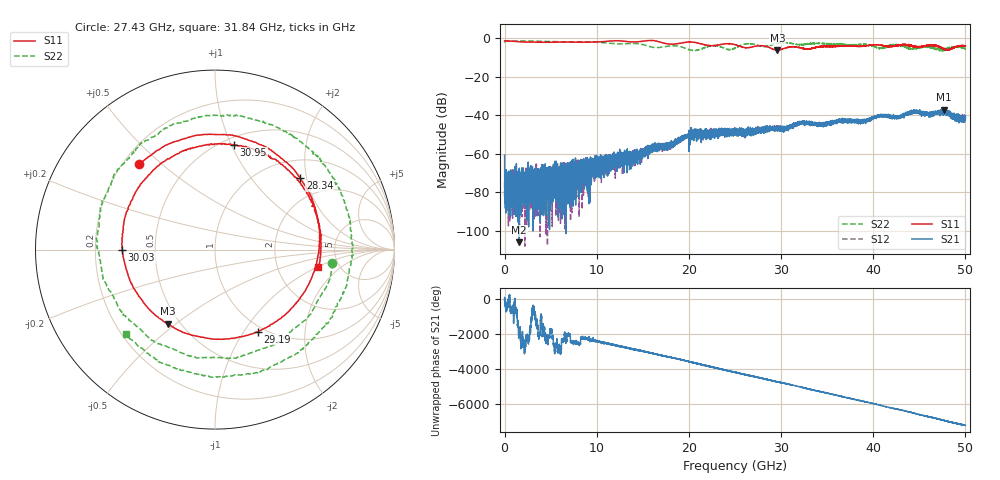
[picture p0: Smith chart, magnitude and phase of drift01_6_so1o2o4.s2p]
!Created with skrf (http://scikit-rf.org).
# Hz S RI R 50.0
!freq ReS11 ImS11 ReS21 ImS21 ReS12 ImS12 ReS22 ImS22
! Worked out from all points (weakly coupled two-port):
!   10001 points, 300 kHz to 50 GHz, reference 50 ohm
!   highest |S21| = -37.13 dB at 47.65 GHz (marker M1); lowest = -106.1 dB at 1.575 GHz (marker M2)
!   lowest |S11| = -6.2 dB at 29.61 GHz (marker M3), VSWR 2.91, Z = 21.6 - j23.4 ohm
!   |S11| at or under -10 dB: nowhere
!   |S22| runs from -6.7 to -1.4 dB; largest |S21 - S12| = 0.0039
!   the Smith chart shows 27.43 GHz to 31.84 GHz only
!   S11 on the Smith chart (normalised r, x): 27.43 GHz: 0.26, +0.42; 28.34 GHz: 1.42, +1.84; 29.19 GHz: 0.93, -1.16; 30.03 GHz: 0.32, -0.00; 30.95 GHz: 0.57, +1.02; 31.84 GHz: 3.48, -1.04
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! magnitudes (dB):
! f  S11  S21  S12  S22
! 300 kHz  -1.3  -60.8  -74.6  -2.1
! 255.3 MHz  -1.4  -72.1  -83.9  -1.4
! 1.575 GHz  -1.8  -106.1  -78.2  -1.4
! 5.66 GHz  -2.0  -65.1  -68.5  -1.7
! 8.335 GHz  -2.0  -67.2  -65.2  -1.8
! 9.865 GHz  -1.9  -62.3  -64.4  -2.0
! 16.67 GHz  -1.7  -56.9  -57.0  -4.8
! 18.62 GHz  -2.9  -55.1  -53.5  -3.9
! 20.4 GHz  -1.9  -48.8  -49.2  -6.3
! 22.6 GHz  -3.9  -51.4  -49.2  -3.8
! 25 GHz  -3.3  -48.8  -47.6  -5.1
! 27.43 GHz  -3.9  -49.0  -47.6  -3.6
! 28.34 GHz  -4.1  -47.0  -47.9  -4.2
! 29.19 GHz  -5.8  -46.8  -47.4  -3.1
! 29.61 GHz  -6.2  -46.8  -47.5  -2.5
! 30.03 GHz  -5.7  -46.6  -47.2  -2.3
! 30.95 GHz  -4.5  -45.3  -46.2  -2.5
! 31.84 GHz  -4.7  -43.8  -44.0  -3.3
! 33.34 GHz  -5.2  -44.3  -44.0  -2.6
! 41.67 GHz  -4.3  -40.3  -40.5  -4.6
! 47.65 GHz  -5.4  -37.1  -38.0  -6.5
! 50 GHz  -3.9  -41.2  -42.0  -5.4
